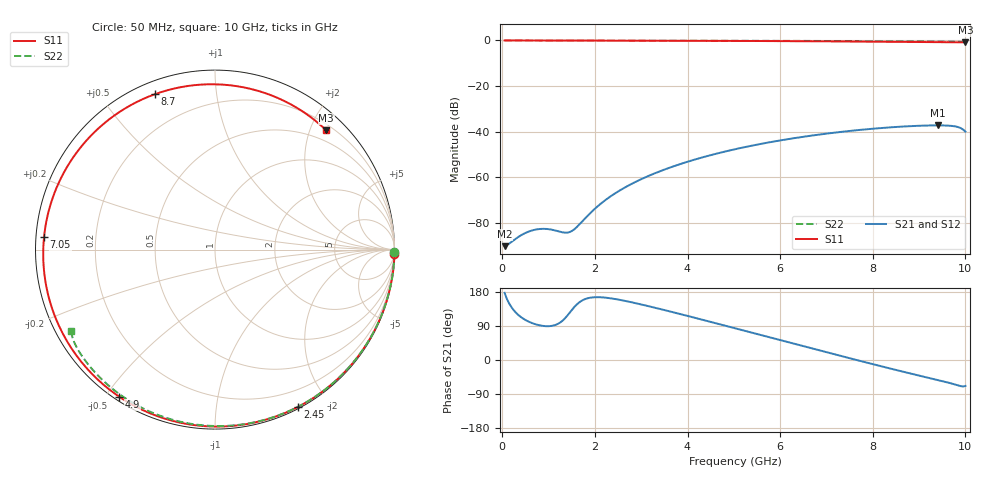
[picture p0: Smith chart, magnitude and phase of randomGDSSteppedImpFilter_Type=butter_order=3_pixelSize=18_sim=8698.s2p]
! freq	dB(S11)	phase(S11)	dB(S12)	phase(S12)
!  dB(S21)	phase(S21)	dB(S22)	phase(S22)
!S-par simulation data
#  GHz  S  DB  R 50
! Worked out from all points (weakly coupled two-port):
!   200 points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, 50 MHz to 10 GHz, reference 50 ohm
!   highest |S21| = -37.22 dB at 9.4 GHz (marker M1); lowest = -90.2 dB at 50 MHz (marker M2)
!   lowest |S11| = -0.8 dB at 10 GHz (marker M3), VSWR 20.94, Z = 14.8 + j113 ohm
!   |S11| at or under -10 dB: nowhere
!   |S22| runs from -0.7 to 0.0 dB; largest |S21 - S12| = 0
!   S11 on the Smith chart (normalised r, x): 50 MHz: 0, -88; 2.45 GHz: 0.02, -1.66; 4.9 GHz: 0.01, -0.54; 7.05 GHz: 0.02, +0.04; 8.7 GHz: 0.05, +0.68; 10 GHz: 0.30, +2.27
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0.05  -0.00 -1.3  -90.18 177.2  -90.18 177.2  -0.00 -0.9
0.85  -0.02 -21.9  -82.60 90.5  -82.60 90.5  -0.01 -14.5
1.65  -0.05 -42.2  -80.98 150.9  -80.98 150.9  -0.04 -27.9
1.7  -0.05 -43.5  -79.91 155.3  -79.91 155.3  -0.04 -28.7
1.75  -0.06 -44.7  -78.83 158.7  -78.83 158.7  -0.04 -29.6
2.1  -0.07 -53.5  -72.00 165.7  -72.00 165.7  -0.05 -35.3
2.45  -0.08 -62.2  -66.84 160.6  -66.84 160.6  -0.05 -41.0
2.9  -0.10 -73.4  -61.77 149.4  -61.77 149.4  -0.06 -48.3
3.4  -0.11 -85.7  -57.38 134.8  -57.38 134.8  -0.07 -56.2
4.15  -0.15 -104.2  -52.25 111.6  -52.25 111.6  -0.09 -67.7
4.9  -0.19 -123.0  -48.26 87.8  -48.26 87.8  -0.12 -78.8
5.05  -0.20 -126.9  -47.57 83.0  -47.57 83.0  -0.12 -81.0
5.95  -0.28 -151.0  -43.99 54.1  -43.99 54.1  -0.16 -93.9
6.7  -0.36 -173.0  -41.65 30.1  -41.65 30.1  -0.20 -104.2
7.05  -0.40 175.7  -40.72 18.9  -40.72 18.9  -0.22 -109.0
7.7  -0.49 152.9  -39.26 -1.6  -39.26 -1.6  -0.27 -117.7
8.35  -0.59 126.8  -38.13 -21.7  -38.13 -21.7  -0.33 -126.3
8.7  -0.65 111.3  -37.68 -32.3  -37.68 -32.3  -0.36 -131.0
9.05  -0.70 94.8  -37.36 -42.6  -37.36 -42.6  -0.40 -135.7
9.4  -0.75 77.5  -37.22 -52.7  -37.22 -52.7  -0.45 -140.5
9.8  -0.81 57.1  -37.76 -65.5  -37.76 -65.5  -0.55 -146.6
10  -0.83 47.0  -39.96 -68.5  -39.96 -68.5  -0.74 -150.6
